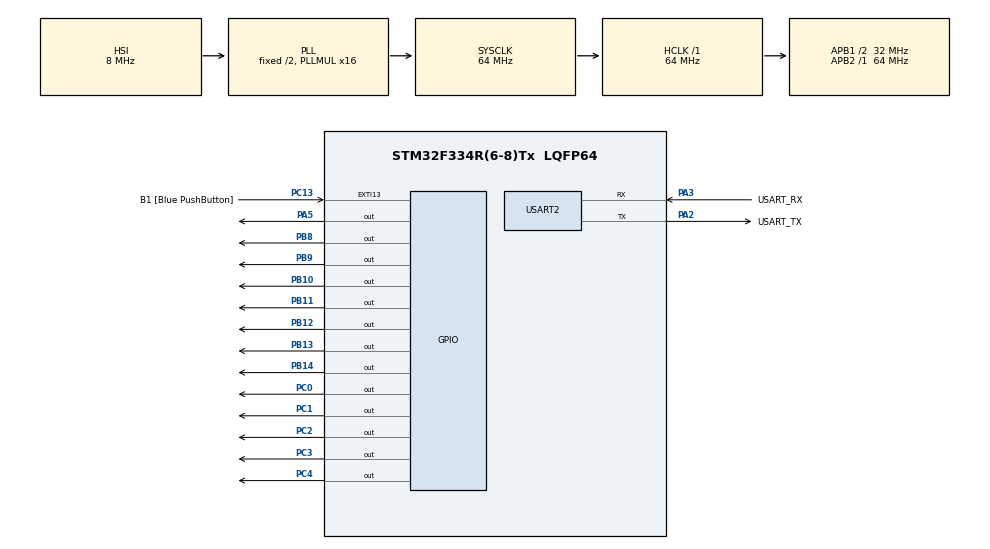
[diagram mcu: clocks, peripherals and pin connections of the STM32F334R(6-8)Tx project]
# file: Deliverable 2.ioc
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Mcu.Family=STM32F3
Mcu.Name=STM32F334R(6-8)Tx
Mcu.Package=LQFP64
NVIC.PriorityGroup=NVIC_PRIORITYGROUP_0
NVIC.TIM3_IRQn=true\:0\:0\:false\:false\:true\:true\:true\:true
PA13.GPIO_Label=TMS
PA13.Mode=Serial_Wire
PA13.Signal=SYS_JTMS-SWDIO
PA14.GPIO_Label=TCK
PA14.Mode=Serial_Wire
PA14.Signal=SYS_JTCK-SWCLK
PA2.GPIO_Label=USART_TX
PA2.Mode=Asynchronous
PA2.Signal=USART2_TX
PA3.GPIO_Label=USART_RX
PA3.Mode=Asynchronous
PA3.Signal=USART2_RX
PA5.Signal=GPIO_Output
PB10.GPIO_ModeDefaultOutputPP=GPIO_MODE_OUTPUT_OD
PB10.GPIO_PuPd=GPIO_NOPULL
PB10.Signal=GPIO_Output
PB11.GPIO_ModeDefaultOutputPP=GPIO_MODE_OUTPUT_OD
PB11.GPIO_PuPd=GPIO_NOPULL
PB11.Signal=GPIO_Output
PB12.GPIO_ModeDefaultOutputPP=GPIO_MODE_OUTPUT_OD
PB12.GPIO_PuPd=GPIO_NOPULL
PB12.Signal=GPIO_Output
PB13.GPIO_ModeDefaultOutputPP=GPIO_MODE_OUTPUT_OD
PB13.GPIO_PuPd=GPIO_NOPULL
PB13.Signal=GPIO_Output
PB14.GPIO_ModeDefaultOutputPP=GPIO_MODE_OUTPUT_OD
PB14.GPIO_PuPd=GPIO_NOPULL
PB14.Signal=GPIO_Output
PB3.GPIO_Label=SWO
PB3.Signal=SYS_JTDO-TRACESWO
PB8.GPIO_ModeDefaultOutputPP=GPIO_MODE_OUTPUT_OD
PB8.GPIO_PuPd=GPIO_NOPULL
PB8.Signal=GPIO_Output
PB9.GPIO_ModeDefaultOutputPP=GPIO_MODE_OUTPUT_OD
PB9.GPIO_PuPd=GPIO_NOPULL
PB9.Signal=GPIO_Output
PC0.GPIO_ModeDefaultOutputPP=GPIO_MODE_OUTPUT_PP
PC0.GPIO_PuPd=GPIO_NOPULL
PC0.Signal=GPIO_Output
PC1.GPIO_ModeDefaultOutputPP=GPIO_MODE_OUTPUT_PP
PC1.GPIO_PuPd=GPIO_NOPULL
PC1.Signal=GPIO_Output
PC13.GPIO_Label=B1 [Blue PushButton]
PC13.GPIO_ModeDefaultEXTI=GPIO_MODE_IT_FALLING
PC13.Signal=GPXTI13
PC14\ /\ OSC32_IN.Mode=LSE-External-Oscillator
PC14\ /\ OSC32_IN.Signal=RCC_OSC32_IN
PC15\ /\ OSC32_OUT.GPIO_Label=RCC_OSC32_OUT
PC15\ /\ OSC32_OUT.Mode=LSE-External-Oscillator
PC15\ /\ OSC32_OUT.Signal=RCC_OSC32_OUT
PC2.GPIO_ModeDefaultOutputPP=GPIO_MODE_OUTPUT_PP
PC2.GPIO_PuPd=GPIO_NOPULL
PC2.Signal=GPIO_Output
PC3.GPIO_ModeDefaultOutputPP=GPIO_MODE_OUTPUT_PP
PC3.GPIO_PuPd=GPIO_NOPULL
PC3.Signal=GPIO_Output
PC4.GPIO_ModeDefaultOutputPP=GPIO_MODE_OUTPUT_PP
PC4.GPIO_PuPd=GPIO_NOPULL
PC4.Signal=GPIO_Output
PF0\ /\ OSC_IN.Mode=HSE-External-Clock-Source
PF0\ /\ OSC_IN.Signal=RCC_OSC_IN
PF1\ /\ OSC_OUT.Signal=RCC_OSC_OUT
ProjectManager.HeapSize=0x200
ProjectManager.StackSize=0x400
ProjectManager.TargetToolchain=STM32CubeIDE
RCC.AHBFreq_Value=64000000
RCC.APB1CLKDivider=RCC_HCLK_DIV2
RCC.APB1Freq_Value=32000000
RCC.APB1TimFreq_Value=64000000
RCC.APB2Freq_Value=64000000
RCC.APB2TimFreq_Value=64000000
RCC.CortexFreq_Value=64000000
RCC.FLatency-AdvancedSettings=FLASH_LATENCY_2
RCC.HCLKFreq_Value=64000000
RCC.HSE_VALUE=8000000
RCC.HSI_VALUE=8000000
RCC.PLLMUL=RCC_PLL_MUL16
RCC.SYSCLKFreq_VALUE=64000000
RCC.SYSCLKSourceVirtual=RCC_SYSCLKSOURCE_PLLCLK
TIM3.AutoReloadPreload=TIM_AUTORELOAD_PRELOAD_ENABLE
TIM3.Period=64000
TIM3.Prescaler=999
USART2.VirtualMode-Asynchronous=VM_ASYNC
VP_TIM3_VS_ClockSourceINT.Mode=Internal
board=NUCLEO-F334R8

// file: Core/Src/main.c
/* USER CODE BEGIN Header */
/**
  ******************************************************************************
  * @file           : main.c
  * @brief          : Main program body
  ******************************************************************************
  * @attention
  *
  * Copyright (c) 2022 STMicroelectronics.
  * All rights reserved.
  *
  * This software is licensed under terms that can be found in the LICENSE file
  * in the root directory of this software component.
  * If no LICENSE file comes with this software, it is provided AS-IS.
  *
  ******************************************************************************
  */
/* USER CODE END Header */
#include "main.h"

TIM_HandleTypeDef htim3;

UART_HandleTypeDef huart2;

/* USER CODE BEGIN PV */
int Count = 0;
/* USER CODE END PV */

void SystemClock_Config(void);
static void MX_GPIO_Init(void);
static void MX_USART2_UART_Init(void);
static void MX_TIM3_Init(void);

int main(void)
{

  /* MCU Configuration--------------------------------------------------------*/

  /* Reset of all peripherals, Initializes the Flash interface and the Systick. */
  HAL_Init();

  /* Configure the system clock */
  SystemClock_Config();

  /* Initialize all configured peripherals */
  MX_GPIO_Init();
  MX_USART2_UART_Init();
  MX_TIM3_Init();
  /* USER CODE BEGIN 2 */

  /* LED PINS (Port B)
    #define LEDn1 GPIO_PIN_8
    #define LEDn2 GPIO_PIN_9
    #define LEDn3 GPIO_PIN_10
    #define LEDn4 GPIO_PIN_11
    #define LEDn5 GPIO_PIN_12
    #define LEDn6 GPIO_PIN_13
    #define LEDn7 GPIO_PIN_14
    */

    /* COLUMN SELECTION PINS (Port C)
    #define COL1 GPIO_PIN_0
    #define COL2 GPIO_PIN_1
    #define COL3 GPIO_PIN_2
    #define COL4 GPIO_PIN_3
    #define COL5 GPIO_PIN_4
    */

    //  int number0[] = {7, 5, 5, 5, 7};
    //  int number1[] = {2, 6, 2, 2, 2};
    //  int number2[] = {7, 1, 7, 4, 7};
    //  int number3[] = {7, 1, 7, 1, 7};
    //  int number4[] = {5, 5, 7, 1, 1};
    //  int number5[] = {7, 4, 7, 1, 7};
    //  int number6[] = {7, 4, 7, 5, 7};
    //  int number7[] = {7, 1, 1, 2, 2};
    //  int number8[] = {7, 5, 7, 5, 7};
    //  int number9[] = {7, 5, 7, 1, 7};

    int numbers[10][5] = {
        {7, 5, 5, 5, 7}, // 0
        {2, 6, 2, 2, 2}, // 1
        {7, 1, 7, 4, 7}, // 2
        {7, 1, 7, 1, 7}, // 3
        {5, 5, 7, 1, 1}, // 4
        {7, 4, 7, 1, 7}, // 5
        {7, 4, 7, 5, 7}, // 6
        {7, 5, 1, 1, 1}, // 7
        {7, 5, 7, 5, 7}, // 8
        {7, 5, 7, 1, 7}  // 9
    };

    int numbers99[100][5];

    for (int i = 0; i < 100; i++) {
    	for (int j = 0; j < 5; j++) {
			numbers99[i][j] = (numbers[i/10][j] << 4) + (numbers[i%10][j]);
    	}
    };

    void displayNumber(int number)
    {
      GPIOC->ODR = 1;
      GPIOB->ODR = ~(numbers[number][0] << 8);
      HAL_Delay(0.1);
      GPIOC->ODR = 2;
      GPIOB->ODR = ~(numbers[number][1] << 8);
      HAL_Delay(0.1);
      GPIOC->ODR = 4;
      GPIOB->ODR = ~(numbers[number][2] << 8);
      HAL_Delay(0.1);
      GPIOC->ODR = 8;
      GPIOB->ODR = ~(numbers[number][3] << 8);
      HAL_Delay(0.1);
      GPIOC->ODR = 16;
      GPIOB->ODR = ~(numbers[number][4] << 8);
      HAL_Delay(0.1);
    }

    void displayNumber99(int number)
        {
          GPIOC->ODR = 1;
          GPIOB->ODR = ~(numbers99[number][0] << 8);
          HAL_Delay(0.1);
          GPIOC->ODR = 2;
          GPIOB->ODR = ~(numbers99[number][1] << 8);
          HAL_Delay(0.1);
          GPIOC->ODR = 4;
          GPIOB->ODR = ~(numbers99[number][2] << 8);
          HAL_Delay(0.1);
          GPIOC->ODR = 8;
          GPIOB->ODR = ~(numbers99[number][3] << 8);
          HAL_Delay(0.1);
          GPIOC->ODR = 16;
          GPIOB->ODR = ~(numbers99[number][4] << 8);
          HAL_Delay(0.1);
        }

  /* USER CODE END 2 */

  /* Infinite loop */

  /* USER CODE BEGIN WHILE */
  HAL_TIM_Base_Start_IT(&htim3);
  while (1)
  {
    /* USER CODE END WHILE */

	  displayNumber99(99 - Count);
  }
}

void SystemClock_Config(void)
{
  RCC_OscInitTypeDef RCC_OscInitStruct = {0};
  RCC_ClkInitTypeDef RCC_ClkInitStruct = {0};

  /** Initializes the RCC Oscillators according to the specified parameters
  * in the RCC_OscInitTypeDef structure.
  */
  RCC_OscInitStruct.OscillatorType = RCC_OSCILLATORTYPE_HSI;
  RCC_OscInitStruct.HSIState = RCC_HSI_ON;
  RCC_OscInitStruct.HSICalibrationValue = RCC_HSICALIBRATION_DEFAULT;
  RCC_OscInitStruct.PLL.PLLState = RCC_PLL_ON;
  RCC_OscInitStruct.PLL.PLLSource = RCC_PLLSOURCE_HSI;
  RCC_OscInitStruct.PLL.PLLMUL = RCC_PLL_MUL16;
  if (HAL_RCC_OscConfig(&RCC_OscInitStruct) != HAL_OK)
  {
    Error_Handler();
  }

  /** Initializes the CPU, AHB and APB buses clocks
  */
  RCC_ClkInitStruct.ClockType = RCC_CLOCKTYPE_HCLK|RCC_CLOCKTYPE_SYSCLK
                              |RCC_CLOCKTYPE_PCLK1|RCC_CLOCKTYPE_PCLK2;
  RCC_ClkInitStruct.SYSCLKSource = RCC_SYSCLKSOURCE_PLLCLK;
  RCC_ClkInitStruct.AHBCLKDivider = RCC_SYSCLK_DIV1;
  RCC_ClkInitStruct.APB1CLKDivider = RCC_HCLK_DIV2;
  RCC_ClkInitStruct.APB2CLKDivider = RCC_HCLK_DIV1;

  if (HAL_RCC_ClockConfig(&RCC_ClkInitStruct, FLASH_LATENCY_2) != HAL_OK)
  {
    Error_Handler();
  }
}

static void MX_TIM3_Init(void)
{

  TIM_ClockConfigTypeDef sClockSourceConfig = {0};
  TIM_MasterConfigTypeDef sMasterConfig = {0};

  htim3.Instance = TIM3;
  htim3.Init.Prescaler = 999;
  htim3.Init.CounterMode = TIM_COUNTERMODE_UP;
  htim3.Init.Period = 64000;
  htim3.Init.ClockDivision = TIM_CLOCKDIVISION_DIV1;
  htim3.Init.AutoReloadPreload = TIM_AUTORELOAD_PRELOAD_ENABLE;
  if (HAL_TIM_Base_Init(&htim3) != HAL_OK)
  {
    Error_Handler();
  }
  sClockSourceConfig.ClockSource = TIM_CLOCKSOURCE_INTERNAL;
  if (HAL_TIM_ConfigClockSource(&htim3, &sClockSourceConfig) != HAL_OK)
  {
    Error_Handler();
  }
  sMasterConfig.MasterOutputTrigger = TIM_TRGO_RESET;
  sMasterConfig.MasterSlaveMode = TIM_MASTERSLAVEMODE_DISABLE;
  if (HAL_TIMEx_MasterConfigSynchronization(&htim3, &sMasterConfig) != HAL_OK)
  {
    Error_Handler();
  }

}

static void MX_USART2_UART_Init(void)
{

  huart2.Instance = USART2;
  huart2.Init.BaudRate = 38400;
  huart2.Init.WordLength = UART_WORDLENGTH_8B;
  huart2.Init.StopBits = UART_STOPBITS_1;
  huart2.Init.Parity = UART_PARITY_NONE;
  huart2.Init.Mode = UART_MODE_TX_RX;
  huart2.Init.HwFlowCtl = UART_HWCONTROL_NONE;
  huart2.Init.OverSampling = UART_OVERSAMPLING_16;
  huart2.Init.OneBitSampling = UART_ONE_BIT_SAMPLE_DISABLE;
  huart2.AdvancedInit.AdvFeatureInit = UART_ADVFEATURE_NO_INIT;
  if (HAL_UART_Init(&huart2) != HAL_OK)
  {
    Error_Handler();
  }

}

static void MX_GPIO_Init(void)
{
  GPIO_InitTypeDef GPIO_InitStruct = {0};

  /* GPIO Ports Clock Enable */
  __HAL_RCC_GPIOC_CLK_ENABLE();
  __HAL_RCC_GPIOF_CLK_ENABLE();
  __HAL_RCC_GPIOA_CLK_ENABLE();
  __HAL_RCC_GPIOB_CLK_ENABLE();

  /*Configure GPIO pin Output Level */
  HAL_GPIO_WritePin(GPIOC, GPIO_PIN_0|GPIO_PIN_1|GPIO_PIN_2|GPIO_PIN_3
                          |GPIO_PIN_4, GPIO_PIN_RESET);

  /*Configure GPIO pin Output Level */
  HAL_GPIO_WritePin(GPIOA, GPIO_PIN_5, GPIO_PIN_RESET);

  /*Configure GPIO pin Output Level */
  HAL_GPIO_WritePin(GPIOB, GPIO_PIN_10|GPIO_PIN_11|GPIO_PIN_12|GPIO_PIN_13
                          |GPIO_PIN_14|GPIO_PIN_8|GPIO_PIN_9, GPIO_PIN_RESET);

  /*Configure GPIO pin : B1_Pin */
  GPIO_InitStruct.Pin = B1_Pin;
  GPIO_InitStruct.Mode = GPIO_MODE_IT_FALLING;
  GPIO_InitStruct.Pull = GPIO_NOPULL;
  HAL_GPIO_Init(B1_GPIO_Port, &GPIO_InitStruct);

  /*Configure GPIO pins : PC0 PC1 PC2 PC3
                           PC4 */
  GPIO_InitStruct.Pin = GPIO_PIN_0|GPIO_PIN_1|GPIO_PIN_2|GPIO_PIN_3
                          |GPIO_PIN_4;
  GPIO_InitStruct.Mode = GPIO_MODE_OUTPUT_PP;
  GPIO_InitStruct.Pull = GPIO_NOPULL;
  GPIO_InitStruct.Speed = GPIO_SPEED_FREQ_LOW;
  HAL_GPIO_Init(GPIOC, &GPIO_InitStruct);

  /*Configure GPIO pin : PA5 */
  GPIO_InitStruct.Pin = GPIO_PIN_5;
  GPIO_InitStruct.Mode = GPIO_MODE_OUTPUT_PP;
  GPIO_InitStruct.Pull = GPIO_NOPULL;
  GPIO_InitStruct.Speed = GPIO_SPEED_FREQ_LOW;
  HAL_GPIO_Init(GPIOA, &GPIO_InitStruct);

  /*Configure GPIO pins : PB10 PB11 PB12 PB13
                           PB14 PB8 PB9 */
  GPIO_InitStruct.Pin = GPIO_PIN_10|GPIO_PIN_11|GPIO_PIN_12|GPIO_PIN_13
                          |GPIO_PIN_14|GPIO_PIN_8|GPIO_PIN_9;
  GPIO_InitStruct.Mode = GPIO_MODE_OUTPUT_OD;
  GPIO_InitStruct.Pull = GPIO_NOPULL;
  GPIO_InitStruct.Speed = GPIO_SPEED_FREQ_LOW;
  HAL_GPIO_Init(GPIOB, &GPIO_InitStruct);

}

void Error_Handler(void)
{
  __disable_irq();
  while (1)
  {
  }
}
